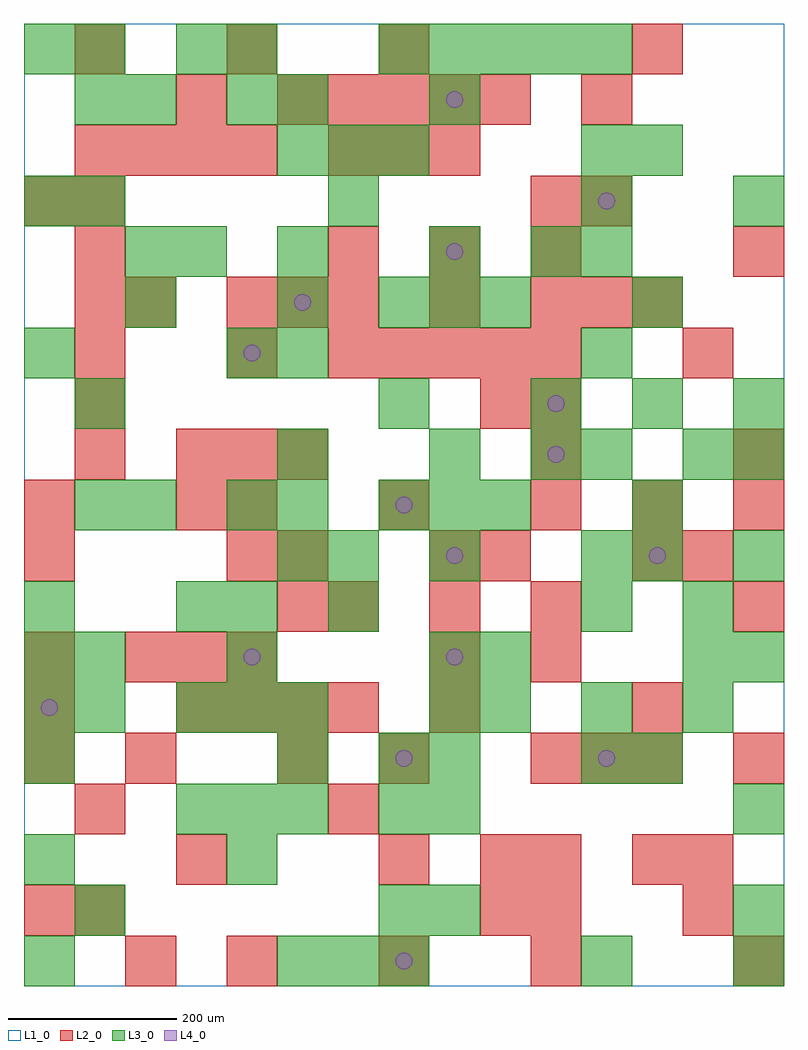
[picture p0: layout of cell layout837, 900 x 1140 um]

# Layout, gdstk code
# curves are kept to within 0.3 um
import gdstk
lib = gdstk.Library(unit=1e-6, precision=1e-09)
def R(c, l, rs):  # rectangles x0, y0, x1, y1
    for r in rs: c.add(gdstk.rectangle(r[:2], r[2:], *l))
def A(c, l, x, y, w, h, nx, ny, dx, dy):  # array of equal rectangles
    R(c, l, [(x+i*dx, y+j*dy, x+i*dx+w, y+j*dy+h) for i in range(nx) for j in range(ny)])
def P(c, l, *ps):  # polygons
    for p in ps: c.add(gdstk.Polygon(p, *l))
L1_0 = (1, 0)
L2_0 = (2, 0)
L3_0 = (3, 0)
L4_0 = (4, 0)

layout837 = lib.new_cell('layout837')
R(layout837, L1_0, [(0,0,900,1140)])
A(layout837, L2_0, 240, 0, 60, 60, 3, 2, 180, 540)
A(layout837, L2_0, 600, 120, 60, 60, 1, 3, 0, 240)
A(layout837, L2_0, 720, 120, 60, 60, 1, 3, 0, 180)
A(layout837, L2_0, 0, 240, 60, 60, 1, 3, 0, 60)
A(layout837, L2_0, 600, 240, 60, 60, 3, 2, 60, 540)
A(layout837, L2_0, 180, 300, 60, 60, 4, 1, 60, 0)
A(layout837, L2_0, 120, 360, 60, 60, 3, 1, 60, 0)
A(layout837, L2_0, 360, 420, 60, 60, 3, 2, 120, 420)
A(layout837, L2_0, 60, 600, 60, 60, 1, 6, 0, 60)
A(layout837, L2_0, 180, 600, 60, 60, 3, 1, 60, 0)
A(layout837, L2_0, 360, 720, 60, 60, 5, 1, 60, 0)
A(layout837, L2_0, 240, 780, 60, 60, 3, 1, 60, 0)
A(layout837, L2_0, 60, 960, 60, 60, 4, 1, 60, 0)
A(layout837, L2_0, 360, 960, 60, 60, 3, 1, 60, 0)
A(layout837, L2_0, 300, 1020, 60, 60, 5, 1, 60, 0)
A(layout837, L2_0, 60, 1080, 60, 60, 3, 1, 180, 0)
R(layout837, L2_0, [(120,0,180,60), (840,0,900,60), (0,60,60,120), (60,60,120,120), (540,60,600,120), (600,60,660,120), (780,60,840,120), (180,120,240,180), (420,120,480,180), (540,120,600,180), (780,120,840,180), (60,180,120,240), (360,180,420,240), (120,240,180,300), (300,240,360,300), (420,240,480,300), (840,240,900,300), (480,300,540,360), (480,360,540,420), (300,420,360,480), (840,420,900,480), (0,480,60,540), (240,480,300,540), (300,480,360,540), (480,480,540,540), (540,480,600,540), (780,480,840,540), (0,540,60,600), (180,540,240,600), (720,540,780,600), (840,540,900,600), (840,600,900,660), (540,660,600,720), (600,660,660,720), (240,720,300,780), (780,720,840,780), (120,780,180,840), (480,780,540,840), (840,840,900,900), (0,900,60,960), (600,900,660,960), (660,900,720,960), (180,1020,240,1080), (660,1020,720,1080), (720,1080,780,1140)])
A(layout837, L3_0, 0, 0, 60, 60, 1, 3, 0, 120)
A(layout837, L3_0, 300, 0, 60, 60, 3, 2, 60, 960)
A(layout837, L3_0, 180, 180, 60, 60, 3, 2, 60, 120)
A(layout837, L3_0, 480, 180, 60, 60, 1, 4, 0, 60)
A(layout837, L3_0, 0, 300, 60, 60, 1, 3, 0, 60)
A(layout837, L3_0, 540, 300, 60, 60, 3, 1, 120, 0)
A(layout837, L3_0, 840, 360, 60, 60, 1, 3, 0, 120)
A(layout837, L3_0, 300, 480, 60, 60, 1, 3, 0, 60)
A(layout837, L3_0, 660, 480, 60, 60, 1, 5, 0, 120)
A(layout837, L3_0, 420, 540, 60, 60, 3, 2, 60, 240)
A(layout837, L3_0, 600, 660, 60, 60, 3, 1, 120, 0)
A(layout837, L3_0, 0, 720, 60, 60, 1, 3, 0, 180)
A(layout837, L3_0, 300, 720, 60, 60, 1, 3, 0, 60)
A(layout837, L3_0, 60, 900, 60, 60, 3, 1, 300, 0)
A(layout837, L3_0, 420, 1080, 60, 60, 5, 1, 60, 0)
R(layout837, L3_0, [(660,0,720,60), (840,0,900,60), (60,60,120,120), (420,60,480,120), (480,60,540,120), (840,60,900,120), (240,120,300,180), (420,180,480,240), (840,180,900,240), (300,240,360,300), (420,240,480,300), (660,240,720,300), (720,240,780,300), (60,300,120,360), (60,360,120,420), (240,360,300,420), (540,360,600,420), (780,360,840,420), (180,420,240,480), (240,420,300,480), (360,420,420,480), (660,420,720,480), (780,420,840,480), (360,480,420,540), (480,480,540,540), (720,480,780,540), (60,540,120,600), (120,540,180,600), (240,540,300,600), (720,540,780,600), (480,600,540,660), (600,600,660,660), (780,600,840,660), (60,660,120,720), (420,660,480,720), (240,720,300,780), (120,780,180,840), (720,780,780,840), (120,840,180,900), (180,840,240,900), (480,840,540,900), (600,840,660,900), (840,900,900,960), (720,960,780,1020), (60,1020,120,1080), (120,1020,180,1080), (240,1020,300,1080), (300,1020,360,1080), (480,1020,540,1080), (60,1080,120,1140), (180,1080,240,1140), (240,1080,300,1140)])
P(layout837, L4_0, [(40,330),(39.239,333.827),(37.071,337.071),(33.827,339.239),(30,340),(26.173,339.239),(22.929,337.071),(20.761,333.827),(20,330),(20.761,326.173),(22.929,322.929),(26.173,320.761),(30,320),(33.827,320.761),(37.071,322.929),(39.239,326.173)],
  [(280,390),(279.239,393.827),(277.071,397.071),(273.827,399.239),(270,400),(266.173,399.239),(262.929,397.071),(260.761,393.827),(260,390),(260.761,386.173),(262.929,382.929),(266.173,380.761),(270,380),(273.827,380.761),(277.071,382.929),(279.239,386.173)],
  [(280,750),(279.239,753.827),(277.071,757.071),(273.827,759.239),(270,760),(266.173,759.239),(262.929,757.071),(260.761,753.827),(260,750),(260.761,746.173),(262.929,742.929),(266.173,740.761),(270,740),(273.827,740.761),(277.071,742.929),(279.239,746.173)],
  [(340,810),(339.239,813.827),(337.071,817.071),(333.827,819.239),(330,820),(326.173,819.239),(322.929,817.071),(320.761,813.827),(320,810),(320.761,806.173),(322.929,802.929),(326.173,800.761),(330,800),(333.827,800.761),(337.071,802.929),(339.239,806.173)],
  [(460,30),(459.239,33.827),(457.071,37.071),(453.827,39.239),(450,40),(446.173,39.239),(442.929,37.071),(440.761,33.827),(440,30),(440.761,26.173),(442.929,22.929),(446.173,20.761),(450,20),(453.827,20.761),(457.071,22.929),(459.239,26.173)],
  [(460,270),(459.239,273.827),(457.071,277.071),(453.827,279.239),(450,280),(446.173,279.239),(442.929,277.071),(440.761,273.827),(440,270),(440.761,266.173),(442.929,262.929),(446.173,260.761),(450,260),(453.827,260.761),(457.071,262.929),(459.239,266.173)],
  [(460,570),(459.239,573.827),(457.071,577.071),(453.827,579.239),(450,580),(446.173,579.239),(442.929,577.071),(440.761,573.827),(440,570),(440.761,566.173),(442.929,562.929),(446.173,560.761),(450,560),(453.827,560.761),(457.071,562.929),(459.239,566.173)],
  [(520,390),(519.239,393.827),(517.071,397.071),(513.827,399.239),(510,400),(506.173,399.239),(502.929,397.071),(500.761,393.827),(500,390),(500.761,386.173),(502.929,382.929),(506.173,380.761),(510,380),(513.827,380.761),(517.071,382.929),(519.239,386.173)],
  [(520,510),(519.239,513.827),(517.071,517.071),(513.827,519.239),(510,520),(506.173,519.239),(502.929,517.071),(500.761,513.827),(500,510),(500.761,506.173),(502.929,502.929),(506.173,500.761),(510,500),(513.827,500.761),(517.071,502.929),(519.239,506.173)],
  [(520,870),(519.239,873.827),(517.071,877.071),(513.827,879.239),(510,880),(506.173,879.239),(502.929,877.071),(500.761,873.827),(500,870),(500.761,866.173),(502.929,862.929),(506.173,860.761),(510,860),(513.827,860.761),(517.071,862.929),(519.239,866.173)],
  [(520,1050),(519.239,1053.827),(517.071,1057.071),(513.827,1059.239),(510,1060),(506.173,1059.239),(502.929,1057.071),(500.761,1053.827),(500,1050),(500.761,1046.173),(502.929,1042.929),(506.173,1040.761),(510,1040),(513.827,1040.761),(517.071,1042.929),(519.239,1046.173)],
  [(640,630),(639.239,633.827),(637.071,637.071),(633.827,639.239),(630,640),(626.173,639.239),(622.929,637.071),(620.761,633.827),(620,630),(620.761,626.173),(622.929,622.929),(626.173,620.761),(630,620),(633.827,620.761),(637.071,622.929),(639.239,626.173)],
  [(640,690),(639.239,693.827),(637.071,697.071),(633.827,699.239),(630,700),(626.173,699.239),(622.929,697.071),(620.761,693.827),(620,690),(620.761,686.173),(622.929,682.929),(626.173,680.761),(630,680),(633.827,680.761),(637.071,682.929),(639.239,686.173)],
  [(700,270),(699.239,273.827),(697.071,277.071),(693.827,279.239),(690,280),(686.173,279.239),(682.929,277.071),(680.761,273.827),(680,270),(680.761,266.173),(682.929,262.929),(686.173,260.761),(690,260),(693.827,260.761),(697.071,262.929),(699.239,266.173)],
  [(700,930),(699.239,933.827),(697.071,937.071),(693.827,939.239),(690,940),(686.173,939.239),(682.929,937.071),(680.761,933.827),(680,930),(680.761,926.173),(682.929,922.929),(686.173,920.761),(690,920),(693.827,920.761),(697.071,922.929),(699.239,926.173)],
  [(760,510),(759.239,513.827),(757.071,517.071),(753.827,519.239),(750,520),(746.173,519.239),(742.929,517.071),(740.761,513.827),(740,510),(740.761,506.173),(742.929,502.929),(746.173,500.761),(750,500),(753.827,500.761),(757.071,502.929),(759.239,506.173)])

lib.write_gds('layout837.gds')
